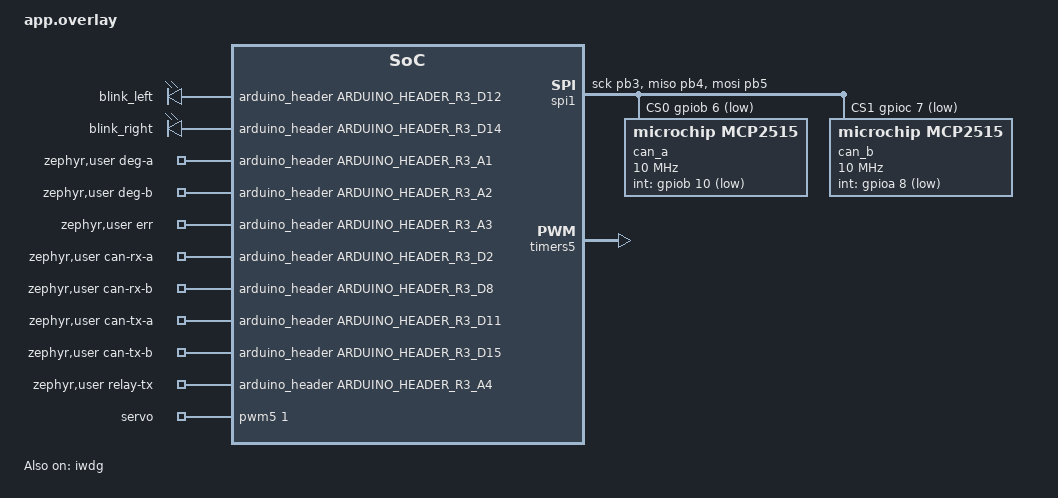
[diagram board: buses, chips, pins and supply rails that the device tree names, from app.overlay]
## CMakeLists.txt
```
cmake_minimum_required(VERSION 3.20.0)
find_package(Zephyr REQUIRED HINTS $ENV{ZEPHYR_BASE})
project(stm32_front)

# N2, the steering zone
target_compile_definitions(app PRIVATE NODE_ID=2)

set(COMMON ${CMAKE_CURRENT_SOURCE_DIR}/../stm32-common)

target_sources(app PRIVATE src/main.c src/servo.c src/relay.c ${COMMON}/src/canbus.c
	${COMMON}/src/ctrl.c ${COMMON}/src/errorstate.c ${COMMON}/src/blinker.c)
target_include_directories(app PRIVATE include ${COMMON}/include)
```

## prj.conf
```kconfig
CONFIG_GPIO=y
CONFIG_PWM=y
CONFIG_CAN=y
CONFIG_CRC=y
CONFIG_WATCHDOG=y

# main does init, then FORCE_TX: the lowest priority, below every other thread
CONFIG_MAIN_THREAD_PRIORITY=10
```

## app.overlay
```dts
/*
 * N2 (front, steering) pin assignments for the Nucleo-F401RE.
 * The CAN wiring is the same on both nodes; stm32-can-test uses this file.
 * Common code needs the same labels on both nodes (CAN, DEG_A/B, ERR,
 * blinkers, CAN test points).
 *
 * Pitfalls:
 * - The board file already gives many header pins to SPI/I2C/UART/PWM. The
 *   build does NOT flag two users of one pin; the last driver to set it
 *   wins. Before enabling a board peripheral, check its pins against this file.
 * - GPIOs use Arduino names (D2, A5); PWM pinctrl uses MCU names (PA10).
 *   Both refer to the same pins.
 * - D13 (PA5) also drives the green LD2.
 * - Interrupt pins need different pin numbers (one EXTI line per number).
 *   In use: CAN INT 10 and 8, test button 13.
 */

/ {
    aliases {
        can-a = &can_a;
        can-b = &can_b;
    };

    chosen {
        zephyr,canbus = &can_a;	/* only for samples like can/counter */
    };
};

/* Board peripherals that claim pins we use */
&spi1 {
    status = "okay";
    /* Set pins to: SCK PB3, MISO PB4, MOSI PB5 */
    pinctrl-0 = <&spi1_sck_pb3 &spi1_miso_pb4 &spi1_mosi_pb5>;
	pinctrl-names = "default";
    
    /* Entry 0 -> reg <0>, entry 1 -> reg <1> */
    cs-gpios = <&gpiob 6 (GPIO_ACTIVE_LOW | GPIO_PULL_UP)>,  /* D10: CAN A CS */
           <&gpioc 7 (GPIO_ACTIVE_LOW | GPIO_PULL_UP)>;  /* D9:  CAN B CS */

    can_a: mcp2515@0 {
        compatible = "microchip,mcp2515";
        reg = <0>;                          /* index into cs-gpios */
        spi-max-frequency = <10000000>;     /* MCP2515 limit; see note on actual clock */
        int-gpios = <&gpiob 10 GPIO_ACTIVE_LOW>;  /* D6: module D6 INT */
        osc-freq = <16000000>;
        bitrate = <500000>;
        status = "okay";
    };

    can_b: mcp2515@1 {
        compatible = "microchip,mcp2515";
        reg = <1>;
        spi-max-frequency = <10000000>;
        int-gpios = <&gpioa 8 GPIO_ACTIVE_LOW>;   /* D7: module D6 INT */
        osc-freq = <16000000>;
        bitrate = <500000>;
        status = "okay";
    };
};

&usart1 {	/* D10 */
	status = "disabled";
};

&pwm2 {		/* D13 */
	status = "disabled";
};

&i2c1 {		/* D14, D15 */
	status = "disabled";
};

&i2c3 {		/* D7 */
	status = "disabled";
};

/* Servo: A0 = PA0 */
&timers5 {
	status = "okay";

	pwm5: pwm {
		status = "okay";
		pinctrl-0 = <&tim5_ch1_pa0>;
		pinctrl-names = "default";
	};
};

/ {
	/* pin -> 4.7k -> LED -> GND, so high = on */
	blinkers {
		compatible = "gpio-leds";

		blink_left: blink_fl {
			gpios = <&arduino_header ARDUINO_HEADER_R3_D12 GPIO_ACTIVE_HIGH>;
		};

		blink_right: blink_fr {
			gpios = <&arduino_header ARDUINO_HEADER_R3_D14 GPIO_ACTIVE_HIGH>;
		};
	};

	zephyr,user {
		pwms = <&pwm5 1 PWM_MSEC(20) PWM_POLARITY_NORMAL>;
		pwm-names = "servo";

		/* LEDs and test points */
		deg-a-gpios = <&arduino_header ARDUINO_HEADER_R3_A1 GPIO_ACTIVE_HIGH>;
		deg-b-gpios = <&arduino_header ARDUINO_HEADER_R3_A2 GPIO_ACTIVE_HIGH>;
		err-gpios = <&arduino_header ARDUINO_HEADER_R3_A3 GPIO_ACTIVE_HIGH>;
		can-rx-a-gpios = <&arduino_header ARDUINO_HEADER_R3_D2 GPIO_ACTIVE_HIGH>;
		can-rx-b-gpios = <&arduino_header ARDUINO_HEADER_R3_D8 GPIO_ACTIVE_HIGH>;
		can-tx-a-gpios = <&arduino_header ARDUINO_HEADER_R3_D11 GPIO_ACTIVE_HIGH>;
		can-tx-b-gpios = <&arduino_header ARDUINO_HEADER_R3_D15 GPIO_ACTIVE_HIGH>;
		relay-tx-gpios = <&arduino_header ARDUINO_HEADER_R3_A4 GPIO_ACTIVE_HIGH>;
	};
};

&iwdg {
	status = "okay";
};
```

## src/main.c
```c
#include <errno.h>

#include <zephyr/kernel.h>
#include <zephyr/sys/printk.h>

#include "blinker.h"
#include "canbus.h"
#include "ctrl.h"
#include "errorstate.h"
#include "relay.h"
#include "servo.h"

#define FORCE_PERIOD_MS 50

static void on_ctrl(const struct can_frame *f)
{
	struct ctrl c;
	int ret = ctrl_parse(f, &c);

	if (ret == -ERANGE) {
		errorstate_bad_ctrl();
	}
	if (ret != 0) {
		return;
	}

	/* First, so the servo has left the error state */
	errorstate_ctrl_ok();
	servo_command(c.steer);
}

int main(void)
{
	if (servo_init() != 0 || errorstate_init(servo_set_error) != 0 ||
	    blinker_init() != 0 || relay_init() != 0 ||
	    canbus_on(CAN_ID_CTRL, on_ctrl) != 0 || canbus_init() != 0) {
		printk("init failed\n");
		return 1;
	}

	/* FORCE_TX: a dummy counter every 50 ms, at main's priority (the lowest) */
	struct k_timer timer;
	uint8_t force = 0;

	k_timer_init(&timer, NULL, NULL);
	k_timer_start(&timer, K_MSEC(FORCE_PERIOD_MS), K_MSEC(FORCE_PERIOD_MS));

	while (1) {
		k_timer_status_sync(&timer);

		uint8_t data[8] = { 0, force++ };

		canbus_send(CAN_ID_FORCE, data);
	}
}
```

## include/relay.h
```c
#ifndef RELAY_H
#define RELAY_H

/*
 * RELAY (N2 only): when N1 and N3 have no bus in common, forward their
 * frames to the other bus unchanged (same ID and seq, so receivers dedup).
 */

/* Call after errorstate_init() and before canbus_init() */
int relay_init(void);

#endif
```

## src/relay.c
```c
/*
 * RELAY: the dispatch tap decides, the relay thread sends.
 *
 * A frame from zone S that arrived on bus X goes out on bus Y only when S's
 * heartbeat says it hears only X and the other zone's says it hears only Y.
 * Scenario (c), N1 off B and N3 off A, is the case this covers. With one
 * node off one bus, or a whole bus down, a common bus remains and nothing
 * is forwarded. Relaying starts when those heartbeats report the fault
 * (~60-80 ms after the pull) and stops when they report it gone.
 */

#include <zephyr/kernel.h>
#include <zephyr/drivers/gpio.h>

#include "canbus.h"
#include "errorstate.h"
#include "relay.h"

/* Below dispatch (1), which feeds it; same as the MCP2515 RX threads (Kconfig default 2) */
#define RELAY_PRIO K_PRIO_PREEMPT(2)

#define RELAY_QUEUE_LEN 8

static const struct gpio_dt_spec relay_tx = GPIO_DT_SPEC_GET(DT_PATH(zephyr_user), relay_tx_gpios);

struct relay_msg {
	struct can_frame frame;
	uint8_t bus;		/* bus to send it on */
};

K_MSGQ_DEFINE(relay_queue, sizeof(struct relay_msg), RELAY_QUEUE_LEN, 4);

static bool only_on(int zone, enum canbus_bus bus)
{
	return errorstate_buses(zone) == BIT(bus);
}

/* Zone `from` reaches the other end zone only through us, from bus x to bus y */
static bool cut_off(int from, enum canbus_bus x, enum canbus_bus y)
{
	int to = from == 1 ? 3 : 1;

	return only_on(from, x) && only_on(to, y);
}

/* Dispatch thread: must not block */
static void on_frame(const struct can_frame *f, enum canbus_bus bus)
{
	enum canbus_bus other = bus == BUS_A ? BUS_B : BUS_A;
	bool forward;

	switch (f->id) {
	case CAN_ID_CTRL:
	case CAN_ID_BLINK:
	case CAN_ID_HB_N1:
		forward = cut_off(1, bus, other);
		break;
	case CAN_ID_HB_N3:
		forward = cut_off(3, bus, other);
		break;
	case CAN_ID_FAULT:	/* the payload doesn't say who sent it */
		forward = cut_off(1, bus, other) || cut_off(3, bus, other);
		break;
	default:
		forward = false;	/* FORCE and HB_N2 are ours, already on both buses */
	}

	if (forward) {
		struct relay_msg msg = { .frame = *f, .bus = other };

		k_msgq_put(&relay_queue, &msg, K_NO_WAIT);
	}
}

static void relay_loop(void *p1, void *p2, void *p3)
{
	struct relay_msg msg;

	while (1) {
		k_msgq_get(&relay_queue, &msg, K_FOREVER);
		gpio_pin_toggle_dt(&relay_tx);
		canbus_forward(msg.bus, &msg.frame);
	}
}

K_THREAD_DEFINE(relay_thread, 1024, relay_loop, NULL, NULL, NULL, RELAY_PRIO, 0, 0);

/* N2 doesn't act on FAULT; the handler only gets it through the filter */
static void ignore(const struct can_frame *f)
{
}

int relay_init(void)
{
	if (gpio_pin_configure_dt(&relay_tx, GPIO_OUTPUT_INACTIVE) != 0) {
		return -EIO;
	}

	canbus_tap(on_frame);
	return canbus_on(CAN_ID_FAULT, ignore);
}
```

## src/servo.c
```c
/*
 * Steering servo, 50 Hz PWM. The timer repeats the pulse by itself, so no
 * thread is needed. A new width starts at the next period (<= 20 ms).
 */

#include <zephyr/kernel.h>
#include <zephyr/drivers/pwm.h>

#include "servo.h"

static const struct pwm_dt_spec servo = PWM_DT_SPEC_GET_BY_NAME(DT_PATH(zephyr_user), servo);

/* Also set from the link timer ISR, so always under the lock */
static struct k_spinlock lock;
static bool error = true;	/* power-up is the error state */

/* Clamping the input keeps the pulse within CENTRE +/- RANGE */
static void write_steering(int32_t steering)
{
	steering = CLAMP(steering, -SERVO_STEER_MAX, SERVO_STEER_MAX);

	int32_t us = SERVO_PULSE_CENTRE_US +
		     SERVO_PULSE_RANGE_US * steering / SERVO_STEER_MAX;

	/* Only register writes, so fine under a spinlock */
	pwm_set_pulse_dt(&servo, PWM_USEC(us));
}

int servo_init(void)
{
	if (!pwm_is_ready_dt(&servo)) {
		return -ENODEV;
	}

	k_spinlock_key_t key = k_spin_lock(&lock);

	write_steering(0);

	k_spin_unlock(&lock, key);
	return 0;
}

void servo_command(int32_t steering)
{
	k_spinlock_key_t key = k_spin_lock(&lock);

	if (!error) {
		write_steering(steering);
	}

	k_spin_unlock(&lock, key);
}

void servo_set_error(bool new_error)
{
	k_spinlock_key_t key = k_spin_lock(&lock);

	error = new_error;

	k_spin_unlock(&lock, key);
}
```
